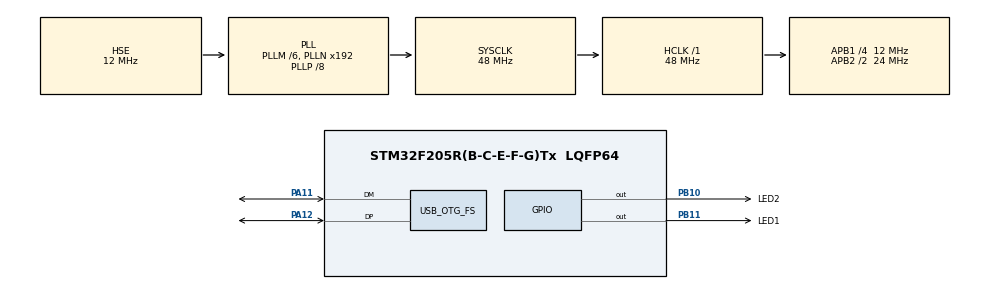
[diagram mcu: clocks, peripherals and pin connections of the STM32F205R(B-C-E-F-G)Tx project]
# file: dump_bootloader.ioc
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Mcu.Family=STM32F2
Mcu.Name=STM32F205R(B-C-E-F-G)Tx
Mcu.Package=LQFP64
NVIC.OTG_FS_IRQn=true\:2\:0\:true\:true\:true\:1\:false\:true
NVIC.PriorityGroup=NVIC_PRIORITYGROUP_4
PA0-WKUP.Mode=SYS_WakeUp0
PA0-WKUP.Signal=SYS_WKUP
PA11.Mode=Device_Only
PA11.Signal=USB_OTG_FS_DM
PA12.Mode=Device_Only
PA12.Signal=USB_OTG_FS_DP
PB10.GPIO_Label=LED2
PB10.PinState=GPIO_PIN_SET
PB10.Signal=GPIO_Output
PB11.GPIO_Label=LED1
PB11.PinState=GPIO_PIN_SET
PB11.Signal=GPIO_Output
PH0-OSC_IN.Mode=HSE-External-Oscillator
PH0-OSC_IN.Signal=RCC_OSC_IN
PH1-OSC_OUT.Mode=HSE-External-Oscillator
PH1-OSC_OUT.Signal=RCC_OSC_OUT
ProjectManager.HeapSize=0x200
ProjectManager.StackSize=0x400
ProjectManager.TargetToolchain=Makefile
RCC.48MHZClocksFreq_Value=48000000
RCC.AHBFreq_Value=48000000
RCC.APB1CLKDivider=RCC_HCLK_DIV4
RCC.APB1Freq_Value=12000000
RCC.APB1TimFreq_Value=24000000
RCC.APB2CLKDivider=RCC_HCLK_DIV2
RCC.APB2Freq_Value=24000000
RCC.APB2TimFreq_Value=48000000
RCC.CortexFreq_Value=48000000
RCC.HCLKFreq_Value=48000000
RCC.HSE_VALUE=12000000
RCC.HSI_VALUE=16000000
RCC.LSE_VALUE=32768
RCC.PLLM=6
RCC.PLLP=RCC_PLLP_DIV8
RCC.PLLQ=8
RCC.PLLSourceVirtual=RCC_PLLSOURCE_HSE
RCC.SYSCLKFreq_VALUE=48000000
RCC.SYSCLKSource=RCC_SYSCLKSOURCE_PLLCLK
RCC.VCOOutputFreq_Value=384000000
USB_DEVICE.CLASS_NAME_FS=CDC
USB_DEVICE.PRODUCT_STRING_CDC_FS=ComPort
USB_DEVICE.VirtualMode-CDC_FS=Cdc
USB_DEVICE.VirtualModeFS=Cdc_FS
USB_OTG_FS.VirtualMode=Device_Only
VP_USB_DEVICE_VS_USB_DEVICE_CDC_FS.Mode=CDC_FS
board=custom

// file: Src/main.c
/* USER CODE BEGIN Header */
/**
  ******************************************************************************
  * @file           : main.c
  ******************************************************************************
  */
/* USER CODE END Header */

// Includes ------------------------------------------------------------------
#include "main.h"
#include "usb_device.h"

// Private includes ----------------------------------------------------------
/* USER CODE BEGIN Includes */
#include "usbd_cdc_if.h"
/* USER CODE END Includes */

// Private typedef -----------------------------------------------------------

// Private define ------------------------------------------------------------

// Private macro -------------------------------------------------------------

// Private variables ---------------------------------------------------------

/* USER CODE BEGIN PV */
static const char __attribute__ ((section (".fill00"), used)) f0 = 0;
static const char __attribute__ ((section (".fillff"), used)) ff = -1;
static const char __attribute__ ((section (".date"), used)) date_str[] =
"J-Link V9 compiled Feb 22 2222 22:22:22" "\x00"
"Copyright 2003-2012 SEGGER: www.segger.com";
/* USER CODE END PV */

// Private function prototypes -----------------------------------------------
void SystemClock_Config(void);
static void MX_GPIO_Init(void);
static void MX_NVIC_Init(void);

// Private user code ---------------------------------------------------------

int main(void)
{
  /* USER CODE BEGIN 1 */
  int i, addr;
  char line[80];
  /* USER CODE END 1 */

  /* MCU Configuration--------------------------------------------------------*/

  /* Reset of all peripherals, Initializes the Flash interface and the Systick. */
  HAL_Init();

  /* Configure the system clock */
  SystemClock_Config();

  /* Initialize all configured peripherals */
  MX_GPIO_Init();
  MX_USB_DEVICE_Init();

  /* Initialize interrupts */
  MX_NVIC_Init();

  /* Infinite loop */
  while (1)
  {

    /* USER CODE BEGIN 3 */
    // wait 10s while flashing the green LED
    for( i = 0; i < 20; i++ )
    {
      HAL_Delay( 250 );
      HAL_GPIO_WritePin( LED1_GPIO_Port, LED1_Pin, RESET );
      HAL_Delay( 250 );
      HAL_GPIO_WritePin( LED1_GPIO_Port, LED1_Pin, SET );
    }
    HAL_GPIO_WritePin( LED2_GPIO_Port, LED2_Pin, RESET );
    for( addr = 0x0; addr < 0x40000; addr += 16 )
    {
      sprintf( line, "%06x ", addr );
      for( i = 0; i < 16; i++ )
        sprintf( line + 7 + 3 * i, " %02x", *(uint8_t *)(addr + i) );
      line[7 + 3 * 16] = '\r';
      line[7 + 3 * 16 + 1] = '\n';
      while( CDC_Transmit_FS((uint8_t *)line, 7 + 3 * 16 + 2) != USBD_OK )
        HAL_PWR_EnterSLEEPMode( PWR_MAINREGULATOR_ON, PWR_SLEEPENTRY_WFI );
      HAL_GPIO_TogglePin( LED2_GPIO_Port, LED2_Pin );
    }
    HAL_GPIO_WritePin( LED2_GPIO_Port, LED2_Pin, SET );
  }
  /* USER CODE END 3 */
}

void SystemClock_Config(void)
{
  RCC_OscInitTypeDef RCC_OscInitStruct = {0};
  RCC_ClkInitTypeDef RCC_ClkInitStruct = {0};

  /** Initializes the CPU, AHB and APB busses clocks
  */
  RCC_OscInitStruct.OscillatorType = RCC_OSCILLATORTYPE_HSE;
  RCC_OscInitStruct.HSEState = RCC_HSE_ON;
  RCC_OscInitStruct.PLL.PLLState = RCC_PLL_ON;
  RCC_OscInitStruct.PLL.PLLSource = RCC_PLLSOURCE_HSE;
  RCC_OscInitStruct.PLL.PLLM = 6;
  RCC_OscInitStruct.PLL.PLLN = 192;
  RCC_OscInitStruct.PLL.PLLP = RCC_PLLP_DIV8;
  RCC_OscInitStruct.PLL.PLLQ = 8;
  if (HAL_RCC_OscConfig(&RCC_OscInitStruct) != HAL_OK)
  {
    Error_Handler();
  }
  /** Initializes the CPU, AHB and APB busses clocks
  */
  RCC_ClkInitStruct.ClockType = RCC_CLOCKTYPE_HCLK|RCC_CLOCKTYPE_SYSCLK
                              |RCC_CLOCKTYPE_PCLK1|RCC_CLOCKTYPE_PCLK2;
  RCC_ClkInitStruct.SYSCLKSource = RCC_SYSCLKSOURCE_PLLCLK;
  RCC_ClkInitStruct.AHBCLKDivider = RCC_SYSCLK_DIV1;
  RCC_ClkInitStruct.APB1CLKDivider = RCC_HCLK_DIV4;
  RCC_ClkInitStruct.APB2CLKDivider = RCC_HCLK_DIV2;

  if (HAL_RCC_ClockConfig(&RCC_ClkInitStruct, FLASH_LATENCY_1) != HAL_OK)
  {
    Error_Handler();
  }
}

/**
  * @brief NVIC Configuration.
  * @retval None
  */
static void MX_NVIC_Init(void)
{
  /* OTG_FS_IRQn interrupt configuration */
  HAL_NVIC_SetPriority(OTG_FS_IRQn, 2, 0);
  HAL_NVIC_EnableIRQ(OTG_FS_IRQn);
}

static void MX_GPIO_Init(void)
{
  GPIO_InitTypeDef GPIO_InitStruct = {0};

  /* GPIO Ports Clock Enable */
  __HAL_RCC_GPIOC_CLK_ENABLE();
  __HAL_RCC_GPIOH_CLK_ENABLE();
  __HAL_RCC_GPIOA_CLK_ENABLE();
  __HAL_RCC_GPIOB_CLK_ENABLE();
  __HAL_RCC_GPIOD_CLK_ENABLE();

  /*Configure GPIO pin Output Level */
  HAL_GPIO_WritePin(GPIOB, LED2_Pin|LED1_Pin, GPIO_PIN_SET);

  /*Configure GPIO pins : PC13 PC14 PC15 PC0
                           PC1 PC2 PC3 PC4
                           PC5 PC6 PC7 PC8
                           PC9 PC10 PC11 PC12 */
  GPIO_InitStruct.Pin = GPIO_PIN_13|GPIO_PIN_14|GPIO_PIN_15|GPIO_PIN_0
                          |GPIO_PIN_1|GPIO_PIN_2|GPIO_PIN_3|GPIO_PIN_4
                          |GPIO_PIN_5|GPIO_PIN_6|GPIO_PIN_7|GPIO_PIN_8
                          |GPIO_PIN_9|GPIO_PIN_10|GPIO_PIN_11|GPIO_PIN_12;
  GPIO_InitStruct.Mode = GPIO_MODE_ANALOG;
  GPIO_InitStruct.Pull = GPIO_NOPULL;
  HAL_GPIO_Init(GPIOC, &GPIO_InitStruct);

  /*Configure GPIO pins : PA1 PA2 PA3 PA4
                           PA5 PA6 PA7 PA8
                           PA9 PA10 PA13 PA14
                           PA15 */
  GPIO_InitStruct.Pin = GPIO_PIN_1|GPIO_PIN_2|GPIO_PIN_3|GPIO_PIN_4
                          |GPIO_PIN_5|GPIO_PIN_6|GPIO_PIN_7|GPIO_PIN_8
                          |GPIO_PIN_9|GPIO_PIN_10|GPIO_PIN_13|GPIO_PIN_14
                          |GPIO_PIN_15;
  GPIO_InitStruct.Mode = GPIO_MODE_ANALOG;
  GPIO_InitStruct.Pull = GPIO_NOPULL;
  HAL_GPIO_Init(GPIOA, &GPIO_InitStruct);

  /*Configure GPIO pins : PB0 PB1 PB2 PB12
                           PB13 PB14 PB15 PB3
                           PB4 PB5 PB6 PB7
                           PB8 PB9 */
  GPIO_InitStruct.Pin = GPIO_PIN_0|GPIO_PIN_1|GPIO_PIN_2|GPIO_PIN_12
                          |GPIO_PIN_13|GPIO_PIN_14|GPIO_PIN_15|GPIO_PIN_3
                          |GPIO_PIN_4|GPIO_PIN_5|GPIO_PIN_6|GPIO_PIN_7
                          |GPIO_PIN_8|GPIO_PIN_9;
  GPIO_InitStruct.Mode = GPIO_MODE_ANALOG;
  GPIO_InitStruct.Pull = GPIO_NOPULL;
  HAL_GPIO_Init(GPIOB, &GPIO_InitStruct);

  /*Configure GPIO pins : LED2_Pin LED1_Pin */
  GPIO_InitStruct.Pin = LED2_Pin|LED1_Pin;
  GPIO_InitStruct.Mode = GPIO_MODE_OUTPUT_PP;
  GPIO_InitStruct.Pull = GPIO_NOPULL;
  GPIO_InitStruct.Speed = GPIO_SPEED_FREQ_LOW;
  HAL_GPIO_Init(GPIOB, &GPIO_InitStruct);

  /*Configure GPIO pin : PD2 */
  GPIO_InitStruct.Pin = GPIO_PIN_2;
  GPIO_InitStruct.Mode = GPIO_MODE_ANALOG;
  GPIO_InitStruct.Pull = GPIO_NOPULL;
  HAL_GPIO_Init(GPIOD, &GPIO_InitStruct);

}

void Error_Handler(void)
{
  /* USER CODE BEGIN Error_Handler_Debug */
  // User can add his own implementation to report the HAL error return state

  /* USER CODE END Error_Handler_Debug */
}
